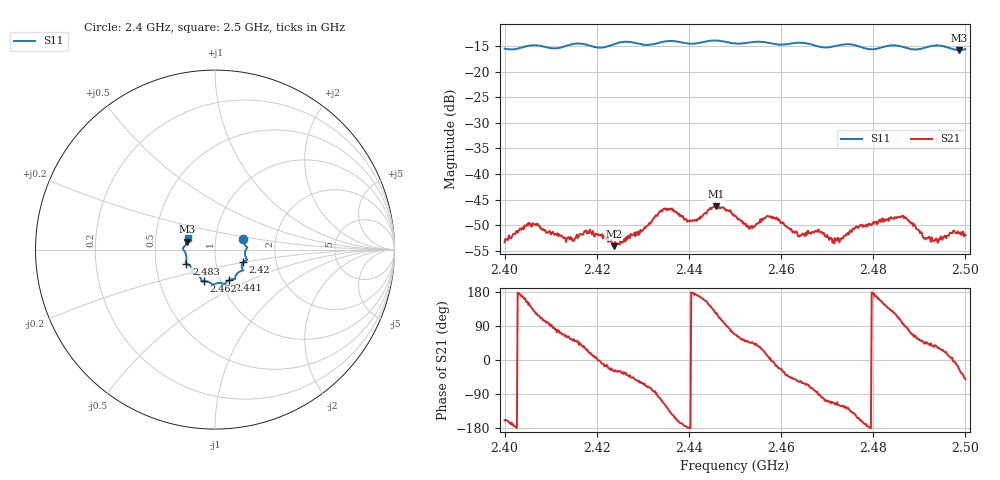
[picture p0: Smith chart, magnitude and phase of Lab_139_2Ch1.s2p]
# Hz S RI R 50
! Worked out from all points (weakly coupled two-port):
!   601 points, 2.4 GHz to 2.5 GHz, reference 50 ohm
!   highest |S21| = -46.31 dB at 2.4458 GHz (marker M1); lowest = -54.1 dB at 2.4237 GHz (marker M2)
!   lowest |S11| = -15.8 dB at 2.4987 GHz (marker M3), VSWR 1.39, Z = 36.4 + j3.31 ohm
!   |S11| at or under -10 dB: start of sweep to end of sweep
!   S12 and S22 are empty: the file has one direction only
!   S11 on the Smith chart (normalised r, x): 2.4 GHz: 1.36, +0.17; 2.42 GHz: 1.36, -0.20; 2.441 GHz: 1.09, -0.39; 2.462 GHz: 0.83, -0.30; 2.483 GHz: 0.72, -0.12; 2.5 GHz: 0.73, +0.09
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2.4e9  0.1561 0.0601  -0.00201 -0.000759  0 0  0 0
2.405833e9  0.1792 0.0139  -0.00228 0.00202  0 0  0 0
2.413167e9  0.1716 -0.0429  0.00111 0.00209  0 0  0 0
2.416667e9  0.1778 -0.0583  0.00199 0.00163  0 0  0 0
2.42e9  0.1567 -0.0706  0.00257 0.000236  0 0  0 0
2.423667e9  0.1515 -0.1049  0.00173 -0.000946  0 0  0 0
2.433333e9  0.1129 -0.1526  -0.000478 -0.00406  0 0  0 0
2.436167e9  0.1104 -0.1651  -0.00355 -0.00284  0 0  0 0
2.441e9  0.0767 -0.1706  -0.0035 0.000238  0 0  0 0
2.445833e9  0.0521 -0.1942  -0.0026 0.00408  0 0  0 0
2.45e9  0.0263 -0.186  0.0015 0.00358  0 0  0 0
2.4535e9  -0.00342 -0.1933  0.00211 0.00213  0 0  0 0
2.457333e9  -0.0201 -0.1892  0.00382 0.00046  0 0  0 0
2.462e9  -0.0621 -0.1764  0.00202 -0.00201  0 0  0 0
2.466667e9  -0.0764 -0.1668  0.000753 -0.0026  0 0  0 0
2.471667e9  -0.1119 -0.1367  -0.00106 -0.00212  0 0  0 0
2.483e9  -0.1594 -0.078  -0.00275 0.00233  0 0  0 0
2.483333e9  -0.161 -0.0773  -0.00252 0.00241  0 0  0 0
2.486667e9  -0.1609 -0.0624  -0.000175 0.00369  0 0  0 0
2.493e9  -0.1789 0.00322  0.00177 0.00134  0 0  0 0
2.498667e9  -0.1557 0.0443  0.00239 -0.00113  0 0  0 0
2.5e9  -0.153 0.063  0.00159 -0.00194  0 0  0 0
